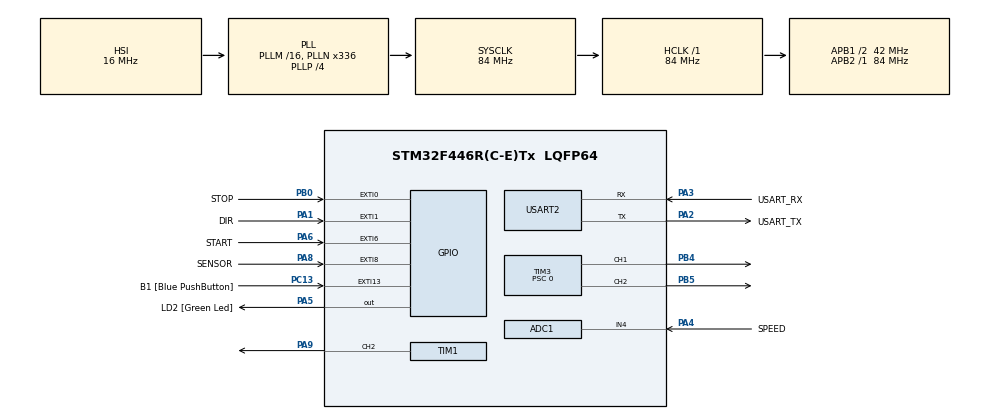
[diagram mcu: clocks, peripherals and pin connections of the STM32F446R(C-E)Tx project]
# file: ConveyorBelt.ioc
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ADC1.Channel-0\#ChannelRegularConversion=ADC_CHANNEL_4
ADC1.ContinuousConvMode=ENABLE
ADC1.NbrOfConversionFlag=1
ADC1.Rank-0\#ChannelRegularConversion=1
ADC1.SamplingTime-0\#ChannelRegularConversion=ADC_SAMPLETIME_3CYCLES
ADC1.master=1
Mcu.Family=STM32F4
Mcu.Name=STM32F446R(C-E)Tx
Mcu.Package=LQFP64
NVIC.ADC_IRQn=true\:0\:0\:false\:false\:true\:true\:true\:true
NVIC.EXTI0_IRQn=true\:0\:0\:false\:false\:true\:true\:true\:true
NVIC.EXTI15_10_IRQn=true\:0\:0\:false\:false\:true\:true\:true\:true
NVIC.EXTI1_IRQn=true\:0\:0\:false\:false\:true\:true\:true\:true
NVIC.EXTI9_5_IRQn=true\:0\:0\:false\:false\:true\:true\:true\:true
NVIC.PriorityGroup=NVIC_PRIORITYGROUP_0
NVIC.TIM3_IRQn=true\:0\:0\:false\:false\:true\:true\:true\:true
NVIC.USART2_IRQn=true\:0\:0\:false\:false\:true\:true\:true\:true
PA1.GPIO_Label=DIR
PA1.GPIO_ModeDefaultEXTI=GPIO_MODE_IT_RISING_FALLING
PA1.GPIO_PuPd=GPIO_PULLDOWN
PA1.Signal=GPXTI1
PA13.GPIO_Label=TMS
PA13.Mode=Serial_Wire
PA13.Signal=SYS_JTMS-SWDIO
PA14.GPIO_Label=TCK
PA14.Mode=Serial_Wire
PA14.Signal=SYS_JTCK-SWCLK
PA2.GPIO_Label=USART_TX
PA2.Mode=Asynchronous
PA2.Signal=USART2_TX
PA3.GPIO_Label=USART_RX
PA3.Mode=Asynchronous
PA3.Signal=USART2_RX
PA4.GPIO_Label=SPEED
PA4.Signal=ADCx_IN4
PA5.GPIO_Label=LD2 [Green Led]
PA5.Signal=GPIO_Output
PA6.GPIO_Label=START
PA6.GPIO_ModeDefaultEXTI=GPIO_MODE_IT_RISING_FALLING
PA6.GPIO_PuPd=GPIO_PULLDOWN
PA6.Signal=GPXTI6
PA8.GPIO_Label=SENSOR
PA8.GPIO_ModeDefaultEXTI=GPIO_MODE_IT_RISING_FALLING
PA8.GPIO_PuPd=GPIO_PULLDOWN
PA8.Signal=GPXTI8
PA9.Signal=S_TIM1_CH2
PB0.GPIO_Label=STOP
PB0.GPIO_ModeDefaultEXTI=GPIO_MODE_IT_RISING_FALLING
PB0.GPIO_PuPd=GPIO_PULLDOWN
PB0.Signal=GPXTI0
PB3.GPIO_Label=SWO
PB3.Signal=SYS_JTDO-SWO
PB4.GPIO_Speed=GPIO_SPEED_FREQ_HIGH
PB4.Signal=S_TIM3_CH1
PB5.GPIO_Speed=GPIO_SPEED_FREQ_HIGH
PB5.Signal=S_TIM3_CH2
PC13.GPIO_Label=B1 [Blue PushButton]
PC13.GPIO_ModeDefaultEXTI=GPIO_MODE_IT_FALLING
PC13.Signal=GPXTI13
PC14-OSC32_IN.Mode=LSE-External-Oscillator
PC14-OSC32_IN.Signal=RCC_OSC32_IN
PC15-OSC32_OUT.Mode=LSE-External-Oscillator
PC15-OSC32_OUT.Signal=RCC_OSC32_OUT
PH0-OSC_IN.Mode=HSE-External-Oscillator
PH0-OSC_IN.Signal=RCC_OSC_IN
PH1-OSC_OUT.Mode=HSE-External-Oscillator
PH1-OSC_OUT.Signal=RCC_OSC_OUT
ProjectManager.HeapSize=0x200
ProjectManager.StackSize=0x400
ProjectManager.TargetToolchain=CMake
RCC.48MHZClocksFreq_Value=84000000
RCC.AHBFreq_Value=84000000
RCC.APB1CLKDivider=RCC_HCLK_DIV2
RCC.APB1Freq_Value=42000000
RCC.APB1TimFreq_Value=84000000
RCC.APB2Freq_Value=84000000
RCC.APB2TimFreq_Value=84000000
RCC.CortexFreq_Value=84000000
RCC.FLatency-AdvancedSettings=FLASH_LATENCY_2
RCC.HCLKFreq_Value=84000000
RCC.HSE_VALUE=8000000
RCC.HSI_VALUE=16000000
RCC.PLLN=336
RCC.PLLP=RCC_PLLP_DIV4
RCC.SYSCLKFreq_VALUE=84000000
RCC.SYSCLKSource=RCC_SYSCLKSOURCE_PLLCLK
RCC.USBFreq_Value=168000000
RCC.VCOOutputFreq_Value=336000000
SH.ADCx_IN4.0=ADC1_IN4,IN4
SH.S_TIM1_CH2.0=TIM1_CH2,PWM Generation2 CH2
SH.S_TIM3_CH1.0=TIM3_CH1,PWM Generation1 CH1
SH.S_TIM3_CH2.0=TIM3_CH2,PWM Generation2 CH2
TIM1.Channel-PWM\ Generation2\ CH2=TIM_CHANNEL_2
TIM1.Period=8399
TIM1.Prescaler=0
TIM3.AutoReloadPreload=TIM_AUTORELOAD_PRELOAD_ENABLE
TIM3.Channel-PWM\ Generation1\ CH1=TIM_CHANNEL_1
TIM3.Channel-PWM\ Generation2\ CH2=TIM_CHANNEL_2
TIM3.Period=8399
TIM3.Prescaler=0
TIM3.Pulse-PWM\ Generation1\ CH1=840
TIM3.Pulse-PWM\ Generation2\ CH2=840
USART2.VirtualMode=VM_ASYNC
VP_TIM1_VS_ClockSourceINT.Mode=Internal
VP_TIM3_VS_ClockSourceINT.Mode=Internal
board=NUCLEO-F446RE

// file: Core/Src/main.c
/* USER CODE BEGIN Header */
/**
  ******************************************************************************
  * @file           : main.c
  * @brief          : Main program body
  ******************************************************************************
  * @attention
  *
  * Copyright (c) 2025 STMicroelectronics.
  * All rights reserved.
  *
  * This software is licensed under terms that can be found in the LICENSE file
  * in the root directory of this software component.
  * If no LICENSE file comes with this software, it is provided AS-IS.
  *
  ******************************************************************************
  */
/* USER CODE END Header */
#include "main.h"
#include "adc.h"
#include "tim.h"
#include "usart.h"
#include "gpio.h"

/* USER CODE BEGIN Includes */
#include "usart_handler.h"
#include "string.h"
#include "stdio.h"
#include <stdlib.h> // For abs()
/* USER CODE END Includes */

/* USER CODE BEGIN PTD */
typedef enum {
    STOPPED,
    RUNNING_FORWARD,
    RUNNING_REVERSE,
    PAUSED,
    FAULT
} ConveyorState;

typedef struct {
    ConveyorState state;
    ConveyorState (*callback)(void);  // Function pointer for state behavior
} StateMachine;
/* USER CODE END PTD */

/* USER CODE BEGIN PV */
uint32_t last_adc_value = 0;

//uint32_t last_debounce_time = 0;
const uint32_t DEBOUNCE_DELAY = 50;  // 50ms debounce
const uint32_t SPEED_UPDATE_INTERVAL = 500;  // 500ms for speed updates
const uint32_t ADC_CHANGE_THRESHOLD = 82;  // ~2% of 4095 (12-bit ADC)

uint8_t direction_forward = 1;  // 1 for forward, 0 for reverse
uint8_t dir_button_pressed = 0; // Track DIR button state for press-and-release

uint8_t usart_start_pressed = 0; // Simulate START button state
uint8_t usart_stop_pressed = 0;  // Simulate STOP button state
uint8_t usart_sensor_triggered = 0; // Simulate SENSOR state

#define DEBOUNCE_DELAY 50 // 50ms debounce period
#define STABLE_COUNT 3    // Require 3 stable readings

#define COMMAND_SUPPRESS_DELAY 100 // 100ms to suppress redundant commands

uint32_t last_start_debounce_time = 0;
uint32_t last_stop_debounce_time = 0;
uint32_t last_dir_debounce_time = 0;
uint32_t last_sensor_debounce_time = 0;

uint32_t last_start_command_time = 0; // Track last START command
/* USER CODE END PV */

void SystemClock_Config(void);
/* USER CODE BEGIN PFP */
ConveyorState stopped_state(void);
ConveyorState running_forward_state(void);
ConveyorState running_reverse_state(void);
ConveyorState paused_state(void);
ConveyorState fault_state(void);

StateMachine state_machine[] = {
    {STOPPED, stopped_state},
    {RUNNING_FORWARD, running_forward_state},
    {RUNNING_REVERSE, running_reverse_state},
    {PAUSED, paused_state},
    {FAULT, fault_state}
};

ConveyorState current_state = STOPPED;
ConveyorState previous_running_state = RUNNING_FORWARD;  // Track last running direction

void update_state(void);
/* USER CODE END PFP */

/* USER CODE BEGIN 0 */
ConveyorState stopped_state(void) {
    if (HAL_GPIO_ReadPin(START_GPIO_Port, START_Pin) == GPIO_PIN_SET || usart_start_pressed) {
        usart_start_pressed = 0; // Reset USART flag
        ConveyorState next = direction_forward ? RUNNING_FORWARD : RUNNING_REVERSE;
        previous_running_state = next;
         char debug_msg[70];
        sprintf(debug_msg, "STOPPED: Transition to %s (direction_forward=%d)\r\n",
                next == RUNNING_FORWARD ? "RUNNING_FORWARD" : "RUNNING_REVERSE", direction_forward);
        send_uart(debug_msg);
        return next;
    }
    // DEBUG
    usart_sensor_triggered = 0;
    // DEBUG END
    return STOPPED;
}

ConveyorState running_forward_state(void) {
    if (HAL_GPIO_ReadPin(STOP_GPIO_Port, STOP_Pin) == GPIO_PIN_SET || usart_stop_pressed) {
        usart_stop_pressed = 0;
        return STOPPED;
    } else if (HAL_GPIO_ReadPin(START_GPIO_Port, START_Pin) == GPIO_PIN_SET || usart_start_pressed) {
        usart_start_pressed = 0;
        return PAUSED;
    } else if (HAL_GPIO_ReadPin(SENSOR_GPIO_Port, SENSOR_Pin) == GPIO_PIN_SET || usart_sensor_triggered) {
        usart_sensor_triggered = 0;
        return FAULT;
    } else if (!direction_forward) {
        previous_running_state = RUNNING_REVERSE;
        return RUNNING_REVERSE;
    }
    return RUNNING_FORWARD;
}

ConveyorState running_reverse_state(void) {
    if (HAL_GPIO_ReadPin(STOP_GPIO_Port, STOP_Pin) == GPIO_PIN_SET || usart_stop_pressed) {
        usart_stop_pressed = 0;
        return STOPPED;
    } else if (HAL_GPIO_ReadPin(START_GPIO_Port, START_Pin) == GPIO_PIN_SET || usart_start_pressed) {
        usart_start_pressed = 0;
        return PAUSED;
    } else if (HAL_GPIO_ReadPin(SENSOR_GPIO_Port, SENSOR_Pin) == GPIO_PIN_SET || usart_sensor_triggered) {
        usart_sensor_triggered = 0;
        return FAULT;
    } else if (direction_forward) {
        previous_running_state = RUNNING_FORWARD;
        return RUNNING_FORWARD;
    }
    return RUNNING_REVERSE;
}

ConveyorState paused_state(void) {
    if (HAL_GPIO_ReadPin(STOP_GPIO_Port, STOP_Pin) == GPIO_PIN_SET || usart_stop_pressed) {
        usart_stop_pressed = 0;
        return STOPPED;
    } else if (HAL_GPIO_ReadPin(START_GPIO_Port, START_Pin) == GPIO_PIN_SET || usart_start_pressed) {
        usart_start_pressed = 0;
        return direction_forward ? RUNNING_FORWARD : RUNNING_REVERSE;
    } else if (HAL_GPIO_ReadPin(SENSOR_GPIO_Port, SENSOR_Pin) == GPIO_PIN_SET || usart_sensor_triggered) {
        usart_sensor_triggered = 0;
        return FAULT;
    }
    return PAUSED;
}

ConveyorState fault_state(void) {
    if (HAL_GPIO_ReadPin(STOP_GPIO_Port, STOP_Pin) == GPIO_PIN_SET || usart_stop_pressed) {
        usart_stop_pressed = 0;
        return STOPPED;
    }
    usart_sensor_triggered = 0;
    return FAULT;
}

void HAL_GPIO_EXTI_Callback(uint16_t GPIO_Pin) {

    if (GPIO_Pin == START_Pin) {
        if (HAL_GetTick() - last_start_debounce_time < DEBOUNCE_DELAY) {
            return;
        }
        last_start_debounce_time = HAL_GetTick();
        // Check pin states and send UART messages
        if (GPIO_Pin == START_Pin && HAL_GPIO_ReadPin(GPIOA, START_Pin) == GPIO_PIN_SET) {
            clear_command_queue(); // Clear queue on START press
            //send_uart("START: PRESSED\r\n");
            usart_start_pressed = 1; // Set flag directly instead of enqueuing
            last_start_command_time = HAL_GetTick();
            update_state(); // Process state change immediately
            //enqueue_command("S");
        } else if (GPIO_Pin == START_Pin) {
            //send_uart("START: RELEASED\r\n");           // the release can be removed later
        }
    }

    if (GPIO_Pin == STOP_Pin) {
        if (HAL_GetTick() - last_stop_debounce_time < DEBOUNCE_DELAY) {
            return;
        }
        last_stop_debounce_time = HAL_GetTick();
        if (GPIO_Pin == STOP_Pin && HAL_GPIO_ReadPin(GPIOB, STOP_Pin) == GPIO_PIN_SET) {
            // DEBUG
            usart_stop_pressed = 0;
            // DEBUG END
            clear_command_queue(); // Clear queue on STOP press
            //send_uart("STOP: PRESSED\r\n");
            enqueue_command("T");
        } else if (GPIO_Pin == STOP_Pin) {
            //send_uart("STOP: RELEASED\r\n");
        }
    }

   /*  if (GPIO_Pin == DIR_Pin) {
        if (HAL_GetTick() - last_dir_debounce_time < DEBOUNCE_DELAY) {
            return;
        }
        last_dir_debounce_time = HAL_GetTick();

        if (HAL_GPIO_ReadPin(DIR_GPIO_Port, DIR_Pin) == GPIO_PIN_SET) {
            dir_button_pressed = 1; // Mark button as pressed
            send_uart("DIR: PRESSED\r\n");
        } else if (dir_button_pressed) {
            clear_command_queue(); // Clear queue on DIR press
            direction_forward = !direction_forward; // Toggle direction on release
            send_uart(direction_forward ? "DIR: TOGGLED TO FORWARD\r\n" : "DIR: TOGGLED TO REVERSE\r\n");
            enqueue_command("D");
            //dir_button_pressed = 0; // Reset press state
            update_state(); // Process state change immediately
        }
    } */

/*     if (GPIO_Pin == DIR_Pin) {
        if (HAL_GetTick() - last_dir_debounce_time < DEBOUNCE_DELAY) {
            return;
        }
        last_dir_debounce_time = HAL_GetTick();
        GPIO_PinState dir_state = HAL_GPIO_ReadPin(GPIOA, DIR_Pin);
        char debug_msg[50];
        sprintf(debug_msg, "DIR Pin State: %d\r\n", dir_state);
        send_uart(debug_msg);
        if (dir_state == GPIO_PIN_SET) {
            dir_button_pressed = 1;
            //send_uart("DIR: PRESSED\r\n");
            //print_command_queue(); // Print queue after press
        } else if (dir_button_pressed && dir_state == GPIO_PIN_RESET) {
            //print_command_queue(); // Print queue before release
            clear_command_queue();
            direction_forward = !direction_forward;
            sprintf(debug_msg, "DIR: TOGGLED TO %s (direction_forward=%d)\r\n",
                    direction_forward ? "FORWARD" : "REVERSE", direction_forward);
            send_uart(debug_msg);
            dir_button_pressed = 0;
            update_state(); // Apply toggle immediately
        }
    } */

    if (GPIO_Pin == DIR_Pin) {
        if (HAL_GetTick() - last_dir_debounce_time < DEBOUNCE_DELAY) {
            return;
        }
        last_dir_debounce_time = HAL_GetTick();
        /* GPIO_PinState dir_state = HAL_GPIO_ReadPin(GPIOA, DIR_Pin);
        char debug_msg[50];
        sprintf(debug_msg, "DIR Pin State: %d\r\n", dir_state);
        send_uart(debug_msg); */
        if (HAL_GPIO_ReadPin(DIR_GPIO_Port, DIR_Pin) == GPIO_PIN_SET) {
            dir_button_pressed = 1;
            //send_uart("DIR: PRESSED\r\n");
            //print_command_queue(); // Print queue after press
        } else if (dir_button_pressed) {
            //print_command_queue(); // Print queue before release
            clear_command_queue();
            direction_forward = !direction_forward;
            char debug_msg[50];
            sprintf(debug_msg, "DIR: TOGGLED TO %s (direction_forward=%d)\r\n",
                    direction_forward ? "FORWARD" : "REVERSE", direction_forward);
            send_uart(debug_msg);
            dir_button_pressed = 0;

            update_state(); // Apply toggle immediately
        }
    }

    if (GPIO_Pin == SENSOR_Pin) {
        if (HAL_GetTick() - last_sensor_debounce_time < DEBOUNCE_DELAY) {
            return;
        }
        last_sensor_debounce_time = HAL_GetTick();
    if (GPIO_Pin == SENSOR_Pin && HAL_GPIO_ReadPin(GPIOA, SENSOR_Pin) == GPIO_PIN_SET) {
 // DEBUG
        usart_sensor_triggered = 0;
// DEBUG END
        clear_command_queue(); // Clear queue on SENSOR trigger
        send_uart("SENSOR: TRIGGERED\r\n");
        enqueue_command("E");
    }
    }
    //update_state();  // Update state machine after handling inputs

    if (GPIO_Pin != START_Pin) { // only for non-START button presses.
        update_state();
    }
}

// ADDED FOR INTERRUPT-DRIVEN ADC HANDLING
void HAL_ADC_ConvCpltCallback(ADC_HandleTypeDef* hadc) {
    if (hadc->Instance == ADC1) {
        uint32_t adc_value = HAL_ADC_GetValue(hadc);

        /* // Check for significant change (±2%)
        if (abs((int32_t)adc_value - (int32_t)last_adc_value) > ADC_CHANGE_THRESHOLD) {
            uint32_t speed_percent = (adc_value * 100) / 4095;  // Scale to 0-100%
            char msg[50];
            sprintf(msg, "SPEED: %lu%%\r\n", speed_percent);
            send_uart(msg);
            last_adc_value = adc_value;
        } */

         // Check for significant change (±2%)
        if (abs((int32_t)adc_value - (int32_t)last_adc_value) > ADC_CHANGE_THRESHOLD) {
            uint32_t raw_percentage = (adc_value * 100) / 4095; // Scale to 0–100%
            speed_percentage = (raw_percentage + 5) / 10 * 10; // Round to nearest 10%
            if (speed_percentage > 100) speed_percentage = 100; // Clamp to 100%
            char msg[50];
            sprintf(msg, "SPEED: %d%%\r\n", speed_percentage);
            send_uart(msg);
            last_adc_value = adc_value;
        }

        // Restart the next conversion
        HAL_ADC_Start_IT(&hadc1);
    }
}

static uint32_t last_sensor_time = 0; // For debouncing SENSOR

void update_state(void) {
    for (uint8_t i = 0; i < sizeof(state_machine) / sizeof(state_machine[0]); i++) {
        if (state_machine[i].state == current_state) {
            ConveyorState new_state = state_machine[i].callback();
            if (new_state != current_state) {
                current_state = new_state;
                char msg[50];
                const char* state_str;
                switch (current_state) {
                    case STOPPED: state_str = "STOPPED"; break;
                    case RUNNING_FORWARD: state_str = "RUNNING_FORWARD"; break;
                    case RUNNING_REVERSE: state_str = "RUNNING_REVERSE"; break;
                    case PAUSED: state_str = "PAUSED"; break;
                    case FAULT: state_str = "FAULT"; break;
                    default: state_str = "UNKNOWN"; break;
                }
                sprintf(msg, "State -> %s\r\n", state_str);
                send_uart(msg);
            }
            break;
        }
    }
     // Check SENSOR (e.g., PC13) with debouncing
            if (HAL_GPIO_ReadPin(GPIOC, GPIO_PIN_13) == GPIO_PIN_SET &&
                HAL_GetTick() - last_sensor_time >= 50) { // 50ms debounce
                HAL_GPIO_WritePin(GPIOA, GPIO_PIN_5, GPIO_PIN_SET); // LED on
                char msg[50];
                sprintf(msg, "SENSOR Triggered\r\n");
                send_uart(msg);
                last_sensor_time = HAL_GetTick();
            } else if (HAL_GPIO_ReadPin(GPIOC, GPIO_PIN_13) == GPIO_PIN_RESET) {
                HAL_GPIO_WritePin(GPIOA, GPIO_PIN_5, GPIO_PIN_RESET); // LED off
            }

}
/* USER CODE END 0 */

int main(void)
{

  /* MCU Configuration--------------------------------------------------------*/

  /* Reset of all peripherals, Initializes the Flash interface and the Systick. */
  HAL_Init();

  /* Configure the system clock */
  SystemClock_Config();

  /* Initialize all configured peripherals */
  MX_GPIO_Init();
  MX_ADC1_Init();
  MX_USART2_UART_Init();
  MX_TIM1_Init();
  MX_TIM3_Init();
  /* USER CODE BEGIN 2 */
  clear_command_queue(); // Clear queue on startup
  send_uart("Open Source Conveyor Started\r\n");
  start_uart_receive();  // Start UART receive interrupt
  HAL_ADC_Start_IT(&hadc1);  // Start ADC in interrupt mode
  /* USER CODE END 2 */

  /* Infinite loop */
  /* USER CODE BEGIN WHILE */
  while (1)
  { /* USER CODE BEGIN 3 */

   char cmd[20];
   if (dequeue_command(cmd)) {
    char msg[50];
    if (strcmp(cmd, "D") == 0) {
          sprintf(msg, "Processed Command: %s (UART)\r\n", cmd);
        send_uart(msg);
        direction_forward = !direction_forward;
        char debug_msg[50];
        sprintf(debug_msg, "DIR: TOGGLED TO %s (direction_forward=%d)\r\n",
                direction_forward ? "FORWARD" : "REVERSE", direction_forward);
        send_uart(debug_msg);
        //update_state();
    } else if (strcmp(cmd, "S") == 0) {
        if (HAL_GetTick() - last_start_command_time >= COMMAND_SUPPRESS_DELAY) {
            sprintf(msg, "Processed Command: %s (UART)\r\n", cmd);
            send_uart(msg);
            usart_start_pressed = 1;
            last_start_command_time = HAL_GetTick();
            }
        //update_state();
    } else if (strcmp(cmd, "T") == 0) {
        sprintf(msg, "Processed Command: %s (UART)\r\n", cmd);
        send_uart(msg);
        usart_stop_pressed = 1; // Simulate STOP press
        //update_state();
    } else if (strcmp(cmd, "E") == 0) {
        sprintf(msg, "Processed Command: %s (UART)\r\n", cmd);
        send_uart(msg);
        usart_sensor_triggered = 1; // Simulate SENSOR trigger
        //update_state();
    }
    update_state();         // updates the current state of state machine
    clear_command_queue(); // Clear queue after processing
}

}

  HAL_Delay(100);
  /* USER CODE END 3 */
    /* USER CODE END WHILE */

    /* USER CODE BEGIN 3 */

   char cmd[20];
   if (dequeue_command(cmd)) {
    char msg[50];
    if (strcmp(cmd, "D") == 0) {
          sprintf(msg, "Processed Command: %s (UART)\r\n", cmd);
        send_uart(msg);
        direction_forward = !direction_forward;
        char debug_msg[50];
        sprintf(debug_msg, "DIR: TOGGLED TO %s (direction_forward=%d)\r\n",
                direction_forward ? "FORWARD" : "REVERSE", direction_forward);
        send_uart(debug_msg);
        update_state();

    } else if (strcmp(cmd, "S") == 0) {
        if (HAL_GetTick() - last_start_command_time >= COMMAND_SUPPRESS_DELAY) {
            sprintf(msg, "Processed Command: %s (UART)\r\n", cmd);
            send_uart(msg);
            usart_start_pressed = 1;
            last_start_command_time = HAL_GetTick();
            update_state();
            }
    } else if (strcmp(cmd, "T") == 0) {
        sprintf(msg, "Processed Command: %s (UART)\r\n", cmd);
        send_uart(msg);
        usart_stop_pressed = 1; // Simulate STOP press
        update_state();
    } else if (strcmp(cmd, "E") == 0) {
        sprintf(msg, "Processed Command: %s (UART)\r\n", cmd);
        send_uart(msg);
        usart_sensor_triggered = 1; // Simulate SENSOR trigger
        update_state();
    }
    clear_command_queue(); // Clear queue after processing
}

  HAL_Delay(100);
  /* USER CODE END 3 */
}

void SystemClock_Config(void)
{
  RCC_OscInitTypeDef RCC_OscInitStruct = {0};
  RCC_ClkInitTypeDef RCC_ClkInitStruct = {0};

  /** Configure the main internal regulator output voltage
  */
  __HAL_RCC_PWR_CLK_ENABLE();
  __HAL_PWR_VOLTAGESCALING_CONFIG(PWR_REGULATOR_VOLTAGE_SCALE3);

  /** Initializes the RCC Oscillators according to the specified parameters
  * in the RCC_OscInitTypeDef structure.
  */
  RCC_OscInitStruct.OscillatorType = RCC_OSCILLATORTYPE_HSI;
  RCC_OscInitStruct.HSIState = RCC_HSI_ON;
  RCC_OscInitStruct.HSICalibrationValue = RCC_HSICALIBRATION_DEFAULT;
  RCC_OscInitStruct.PLL.PLLState = RCC_PLL_ON;
  RCC_OscInitStruct.PLL.PLLSource = RCC_PLLSOURCE_HSI;
  RCC_OscInitStruct.PLL.PLLM = 16;
  RCC_OscInitStruct.PLL.PLLN = 336;
  RCC_OscInitStruct.PLL.PLLP = RCC_PLLP_DIV4;
  RCC_OscInitStruct.PLL.PLLQ = 2;
  RCC_OscInitStruct.PLL.PLLR = 2;
  if (HAL_RCC_OscConfig(&RCC_OscInitStruct) != HAL_OK)
  {
    Error_Handler();
  }

  /** Initializes the CPU, AHB and APB buses clocks
  */
  RCC_ClkInitStruct.ClockType = RCC_CLOCKTYPE_HCLK|RCC_CLOCKTYPE_SYSCLK
                              |RCC_CLOCKTYPE_PCLK1|RCC_CLOCKTYPE_PCLK2;
  RCC_ClkInitStruct.SYSCLKSource = RCC_SYSCLKSOURCE_PLLCLK;
  RCC_ClkInitStruct.AHBCLKDivider = RCC_SYSCLK_DIV1;
  RCC_ClkInitStruct.APB1CLKDivider = RCC_HCLK_DIV2;
  RCC_ClkInitStruct.APB2CLKDivider = RCC_HCLK_DIV1;

  if (HAL_RCC_ClockConfig(&RCC_ClkInitStruct, FLASH_LATENCY_2) != HAL_OK)
  {
    Error_Handler();
  }
}

void Error_Handler(void)
{
  __disable_irq();
  while (1)
  {
  }
}
